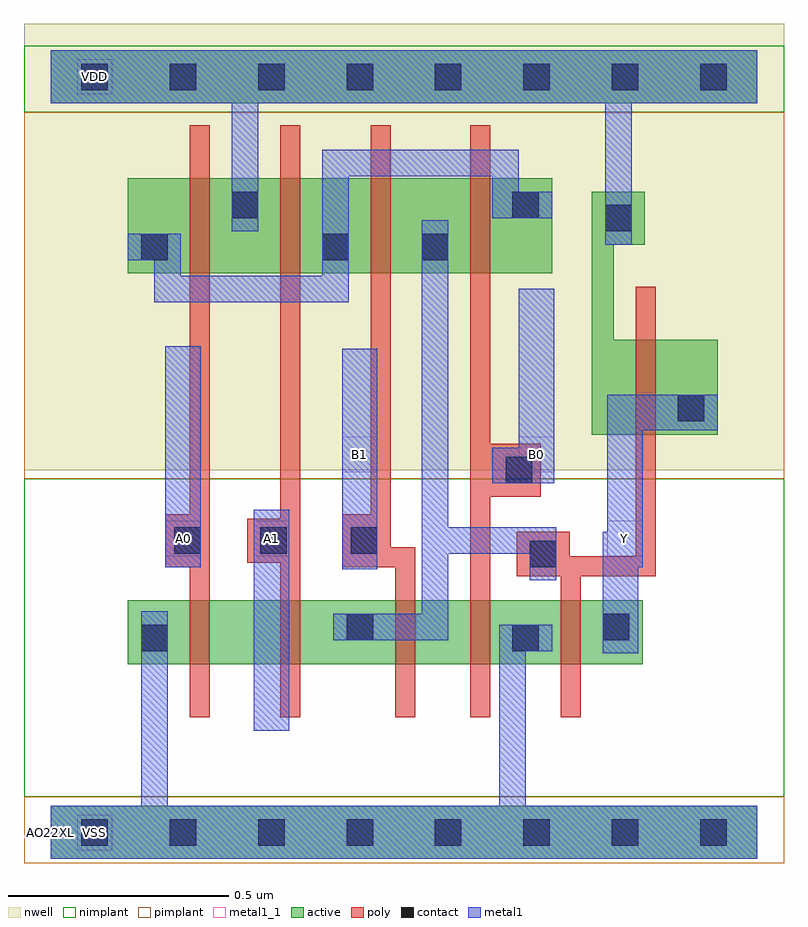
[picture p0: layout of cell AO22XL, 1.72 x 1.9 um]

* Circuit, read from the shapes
.subckt AO22XL A0 A1 B0 B1 VDD VSS Y
M1 n1 A0 VSS VSS nfet w=0.145u l=0.045u
M2 n2 A1 n1 VSS nfet w=0.145u l=0.045u
M3 n3 B1 n2 VSS nfet w=0.145u l=0.045u
M4 VSS B0 n3 VSS nfet w=0.145u l=0.045u
M5 Y n2 VSS VSS nfet w=0.145u l=0.045u
M6 VDD A0 n4 VDD pfet w=0.215u l=0.045u
M7 n4 A1 VDD VDD pfet w=0.215u l=0.045u
M8 n2 B1 n4 VDD pfet w=0.215u l=0.045u
M9 n4 B0 n2 VDD pfet w=0.215u l=0.045u
M10 Y n2 VDD VDD pfet w=0.215u l=0.045u
.ends

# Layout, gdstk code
import gdstk
lib = gdstk.Library(unit=1e-6, precision=5e-10)
def R(c, l, rs):  # rectangles x0, y0, x1, y1
    for r in rs: c.add(gdstk.rectangle(r[:2], r[2:], *l))
def A(c, l, x, y, w, h, nx, ny, dx, dy):  # array of equal rectangles
    R(c, l, [(x+i*dx, y+j*dy, x+i*dx+w, y+j*dy+h) for i in range(nx) for j in range(ny)])
def P(c, l, *ps):  # polygons
    for p in ps: c.add(gdstk.Polygon(p, *l))
active = (1, 0)
nwell = (2, 0)
poly = (3, 0)
nimplant = (4, 0)
pimplant = (5, 0)
contact = (6, 0)
metal1 = (7, 0)
metal1_1 = (7, 1)

ao22xl = lib.new_cell('AO22XL')
R(ao22xl, active, [(0,-0.06,1.6,0.06), (0.175,0.38,1.34,0.525), (0.175,1.265,1.135,1.48), (0,1.65,1.6,1.77)])
P(ao22xl, active, [(1.225,1.45),(1.345,1.45),(1.345,1.33),(1.275,1.33),(1.275,1.115),(1.51,1.115),(1.51,0.9),(1.225,0.9)])
R(ao22xl, nwell, [(-0.06,0.82,1.66,1.83)])
P(ao22xl, poly, [(0.315,1.6),(0.36,1.6),(0.36,0.26),(0.315,0.26),(0.315,0.6),(0.26,0.6),(0.26,0.72),(0.315,0.72)],
  [(0.52,1.6),(0.565,1.6),(0.565,0.26),(0.52,0.26),(0.52,0.61),(0.445,0.61),(0.445,0.71),(0.52,0.71)],
  [(0.725,1.6),(0.77,1.6),(0.77,0.645),(0.825,0.645),(0.825,0.26),(0.78,0.26),(0.78,0.6),(0.66,0.6),(0.66,0.72),(0.725,0.72)],
  [(0.95,1.6),(0.995,1.6),(0.995,0.88),(1.11,0.88),(1.11,0.76),(0.995,0.76),(0.995,0.26),(0.95,0.26)],
  [(1.055,0.68),(1.175,0.68),(1.175,0.625),(1.325,0.625),(1.325,1.235),(1.37,1.235),(1.37,0.58),(1.2,0.58),(1.2,0.26),(1.155,0.26),(1.155,0.58),(1.055,0.58)])
R(ao22xl, nimplant, [(-0.06,0.08,1.66,0.8), (-0.06,1.63,1.66,1.78)])
R(ao22xl, pimplant, [(-0.06,-0.07,1.66,0.08), (-0.06,0.8,1.66,1.63)])
A(ao22xl, contact, 0.07, -0.03, 0.06, 0.06, 8, 2, 0.2, 1.71)
R(ao22xl, contact, [(0.205,0.41,0.265,0.47), (1.045,0.41,1.105,0.47), (0.67,0.435,0.73,0.495), (1.25,0.435,1.31,0.495), (1.085,0.6,1.145,0.66), (0.28,0.63,0.34,0.69), (0.475,0.63,0.535,0.69), (0.68,0.63,0.74,0.69), (1.03,0.79,1.09,0.85), (1.42,0.93,1.48,0.99), (0.205,1.295,0.265,1.355), (0.615,1.295,0.675,1.355), (0.84,1.295,0.9,1.355), (1.255,1.36,1.315,1.42), (0.41,1.39,0.47,1.45), (1.045,1.39,1.105,1.45)])
R(ao22xl, metal1, [(0.46,0.23,0.54,0.73), (0.66,0.595,0.74,1.095), (0.26,0.6,0.34,1.1)])
P(ao22xl, metal1, [(0,1.77),(1.6,1.77),(1.6,1.65),(1.315,1.65),(1.315,1.33),(1.255,1.33),(1.255,1.65),(0.47,1.65),(0.47,1.36),(0.41,1.36),(0.41,1.65),(0,1.65)],
  [(0.615,1.545),(1.06,1.545),(1.06,1.45),(1.135,1.45),(1.135,1.39),(1,1.39),(1,1.485),(0.675,1.485),(0.675,1.2),(0.235,1.2),(0.235,1.295),(0.175,1.295),(0.175,1.355),(0.295,1.355),(0.295,1.26),(0.615,1.26)],
  [(0.84,1.385),(0.9,1.385),(0.9,0.69),(1.145,0.69),(1.145,0.57),(1.085,0.57),(1.085,0.63),(0.9,0.63),(0.9,0.435),(0.64,0.435),(0.64,0.495),(0.84,0.495)],
  [(1.06,1.23),(1.14,1.23),(1.14,0.79),(1,0.79),(1,0.87),(1.06,0.87)],
  [(1.26,0.99),(1.51,0.99),(1.51,0.91),(1.34,0.91),(1.34,0.6),(1.33,0.6),(1.33,0.405),(1.25,0.405),(1.25,0.68),(1.26,0.68)],
  [(0.205,0.5),(0.265,0.5),(0.265,0.06),(1.015,0.06),(1.015,0.47),(1.135,0.47),(1.135,0.41),(1.075,0.41),(1.075,0.06),(1.6,0.06),(1.6,-0.06),(0,-0.06),(0,0.06),(0.205,0.06)])
R(ao22xl, metal1_1, [(0.06,-0.04,0.14,0.04), (0.26,0.625,0.34,0.705), (0.46,0.625,0.54,0.705), (1.26,0.625,1.34,0.705), (0.66,0.815,0.74,0.895), (1.06,0.815,1.14,0.895), (0.06,1.67,0.14,1.75)])
ao22xl.add(gdstk.Label('Y', (1.3,0.665), layer=7, texttype=1))
ao22xl.add(gdstk.Label('B0', (1.1,0.855), layer=7, texttype=1))
ao22xl.add(gdstk.Label('A0', (0.3,0.665), layer=7, texttype=1))
ao22xl.add(gdstk.Label('B1', (0.7,0.855), layer=7, texttype=1))
ao22xl.add(gdstk.Label('A1', (0.5,0.665), layer=7, texttype=1))
ao22xl.add(gdstk.Label('VDD', (0.1,1.71), layer=7, texttype=1))
ao22xl.add(gdstk.Label('VSS', (0.1,0), layer=7, texttype=1))
ao22xl.add(gdstk.Label('AO22XL', (0,0), layer=63, texttype=0))

lib.write_gds('AO22XL.gds')
